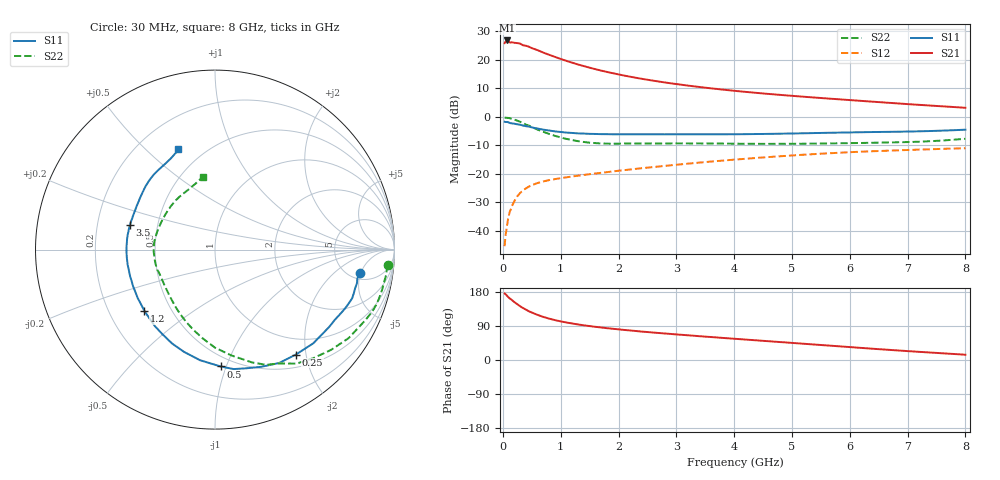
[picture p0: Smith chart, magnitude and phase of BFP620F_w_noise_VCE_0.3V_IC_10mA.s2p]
! (c) 2014  Infineon Technologies AG, Munich
! Infineon Technologies  Discrete & RF Semiconductors
! BFP620F
! VCE =  0.3 V,  IC =  10 mA
! Common Emitter S-Parameters:  Dec 2014
# GHz  S  MA  R  50
!  f  S11  S21  S12  S22
! GHz  MAG  ANG  MAG  ANG  MAG  ANG  MAG  ANG
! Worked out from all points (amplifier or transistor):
!   95 points, 30 MHz to 8 GHz, reference 50 ohm
!   highest |S21| = 26.8 dB at 70 MHz (marker M1)
!   |S21| within 3 dB of that: start of sweep to 544.4 MHz
!   unconditionally stable (mu >= 1): 3.626 GHz to end of sweep
!   at 300 MHz: K = 0.13, MSG = 26.2 dB, |S12| = -26.7 dB
!   at 3.3 GHz: K = 0.98, MSG = 13.5 dB, |S12| = -16.2 dB
!   at 8 GHz: K = 1.11, MAG = 5.1 dB, |S12| = -11.0 dB
!   lowest NFmin = 0.60 dB at 450 MHz
!   S11 on the Smith chart (normalised r, x): 30 MHz: 6.22, -4.83; 250 MHz: 0.71, -1.82; 500 MHz: 0.42, -0.95; 1.2 GHz: 0.35, -0.33; 3.5 GHz: 0.35, +0.13; 8 GHz: 0.37, +0.63
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0.03  0.8186 -9.0  19.58 175.6  0.0054 85.8  0.967 -5.2
0.05  0.8127 -13.4  21.02 173.0  0.009 78.5  0.9635 -8.6
0.07  0.8106 -17.4  21.78 169.8  0.0122 82.7  0.9586 -11.8
0.12  0.7802 -28.4  20.17 162.4  0.0218 78.7  0.9444 -20.6
0.15  0.768 -34.3  20.3 159.0  0.0264 75.2  0.9237 -25.5
0.25  0.7381 -52.4  19.57 147.2  0.0404 65.9  0.8541 -40.9
0.3  0.7259 -60.5  19.14 141.7  0.0464 62.4  0.8156 -47.9
0.35  0.7019 -68.5  17.88 136.9  0.0513 59.2  0.7805 -54.5
0.4  0.6837 -75.3  17.58 132.9  0.0558 56.4  0.7279 -60.6
0.5  0.6517 -87.3  16 125.3  0.0633 51.9  0.6611 -71.9
0.7  0.5953 -106.9  13.33 113.6  0.0736 46.2  0.5457 -90.1
0.8  0.5751 -114.6  12.22 109.2  0.0777 44.4  0.5007 -97.6
1  0.5422 -128.2  10.33 101.9  0.0841 42.4  0.4346 -111.5
1.2  0.5208 -139.0  8.871 96.3  0.0899 41.4  0.3906 -123.6
1.4  0.5082 -148.0  7.74 91.6  0.0956 41.0  0.3618 -134.2
2  0.4934 -167.8  5.535 80.9  0.1134 40.7  0.3377 -158.5
2.7  0.493 177.0  4.146 71.2  0.1347 39.8  0.3406 -174.4
3.5  0.4932 163.6  3.24 61.7  0.1608 37.5  0.3409 173.2
4.1  0.4952 155.0  2.794 55.0  0.1806 35.0  0.3373 164.6
5.4  0.5192 139.5  2.172 40.7  0.2224 27.6  0.3393 144.0
6.7  0.5452 124.7  1.752 26.6  0.2557 18.5  0.3554 122.9
8  0.5946 110.0  1.44 13.9  0.2812 9.6  0.4119 99.3
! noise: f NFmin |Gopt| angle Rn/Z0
0.45  0.6  0.26  8  0.22
0.9  0.67  0.25  19  0.19
1.5  0.73  0.24  21  0.15
1.8  0.75  0.22  24  0.13
1.9  0.76  0.18  38  0.15
2.4  0.81  0.15  54  0.13
3.5  0.91  0.14  75  0.12
5.5  1.08  0.11  178  0.1
6  1.12  0.1  207  0.16
